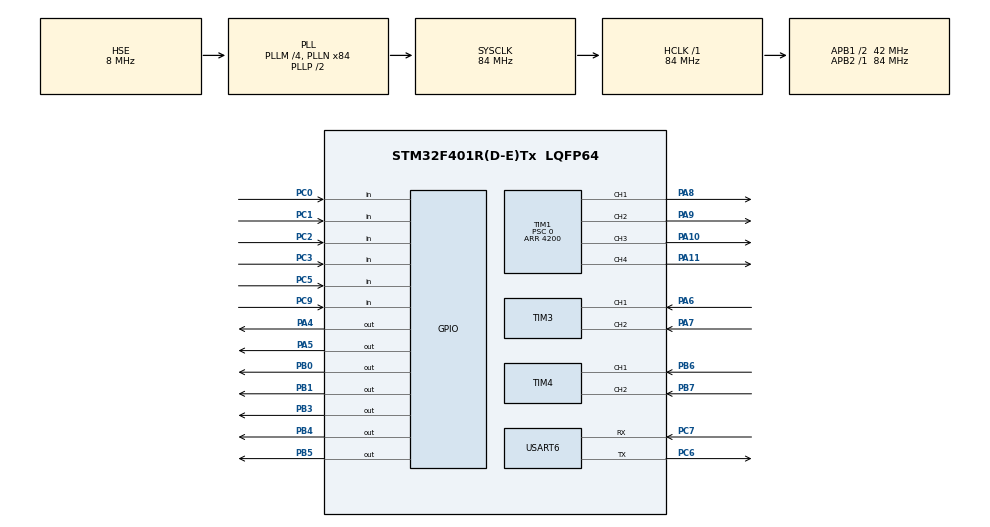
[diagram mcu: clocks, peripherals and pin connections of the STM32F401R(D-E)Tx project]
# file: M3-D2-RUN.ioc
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Mcu.Family=STM32F4
Mcu.Name=STM32F401R(D-E)Tx
Mcu.Package=LQFP64
NVIC.PriorityGroup=NVIC_PRIORITYGROUP_4
NVIC.TIM1_BRK_TIM9_IRQn=true\:0\:0\:false\:false\:true\:true\:true
NVIC.TIM1_CC_IRQn=true\:0\:0\:false\:false\:true\:true\:true
NVIC.TIM3_IRQn=true\:0\:0\:false\:false\:true\:true\:true
NVIC.TIM4_IRQn=true\:0\:0\:false\:false\:true\:true\:true
NVIC.USART6_IRQn=true\:0\:0\:false\:false\:true\:true\:true
PA10.Signal=S_TIM1_CH3
PA11.Signal=S_TIM1_CH4
PA13.Mode=Serial_Wire
PA13.Signal=SYS_JTMS-SWDIO
PA14.Mode=Serial_Wire
PA14.Signal=SYS_JTCK-SWCLK
PA4.Signal=GPIO_Output
PA5.Signal=GPIO_Output
PA6.Signal=S_TIM3_CH1
PA7.Signal=S_TIM3_CH2
PA8.Signal=S_TIM1_CH1
PA9.Signal=S_TIM1_CH2
PB0.Signal=GPIO_Output
PB1.Signal=GPIO_Output
PB3.Signal=GPIO_Output
PB4.Signal=GPIO_Output
PB5.Signal=GPIO_Output
PB6.Signal=S_TIM4_CH1
PB7.Signal=S_TIM4_CH2
PC0.Signal=GPIO_Input
PC1.Signal=GPIO_Input
PC2.Signal=GPIO_Input
PC3.Signal=GPIO_Input
PC5.Signal=GPIO_Input
PC6.Mode=Asynchronous
PC6.Signal=USART6_TX
PC7.Mode=Asynchronous
PC7.Signal=USART6_RX
PC9.Signal=GPIO_Input
PH0\ -\ OSC_IN.Mode=HSE-External-Oscillator
PH0\ -\ OSC_IN.Signal=RCC_OSC_IN
PH1\ -\ OSC_OUT.Mode=HSE-External-Oscillator
PH1\ -\ OSC_OUT.Signal=RCC_OSC_OUT
ProjectManager.HeapSize=0x200
ProjectManager.StackSize=0x400
ProjectManager.TargetToolchain=STM32CubeIDE
RCC.48MHZClocksFreq_Value=42000000
RCC.AHBFreq_Value=84000000
RCC.APB1CLKDivider=RCC_HCLK_DIV2
RCC.APB1Freq_Value=42000000
RCC.APB1TimFreq_Value=84000000
RCC.APB2Freq_Value=84000000
RCC.APB2TimFreq_Value=84000000
RCC.CortexFreq_Value=84000000
RCC.HCLKFreq_Value=84000000
RCC.HSE_VALUE=8000000
RCC.HSI_VALUE=16000000
RCC.LSE_VALUE=32768
RCC.PLLM=4
RCC.PLLN=84
RCC.PLLSourceVirtual=RCC_PLLSOURCE_HSE
RCC.SYSCLKFreq_VALUE=84000000
RCC.SYSCLKSource=RCC_SYSCLKSOURCE_PLLCLK
RCC.VCOOutputFreq_Value=168000000
SH.S_TIM1_CH1.0=TIM1_CH1,PWM Generation1 CH1
SH.S_TIM1_CH2.0=TIM1_CH2,PWM Generation2 CH2
SH.S_TIM1_CH3.0=TIM1_CH3,PWM Generation3 CH3
SH.S_TIM1_CH4.0=TIM1_CH4,PWM Generation4 CH4
SH.S_TIM3_CH1.0=TIM3_CH1,Encoder_Interface
SH.S_TIM3_CH2.0=TIM3_CH2,Encoder_Interface
SH.S_TIM4_CH1.0=TIM4_CH1,Encoder_Interface
SH.S_TIM4_CH2.0=TIM4_CH2,Encoder_Interface
TIM1.Channel-PWM\ Generation1\ CH1=TIM_CHANNEL_1
TIM1.Channel-PWM\ Generation2\ CH2=TIM_CHANNEL_2
TIM1.Channel-PWM\ Generation3\ CH3=TIM_CHANNEL_3
TIM1.Channel-PWM\ Generation4\ CH4=TIM_CHANNEL_4
TIM1.Period=4200
TIM1.Prescaler=0
TIM3.CounterMode=TIM_COUNTERMODE_UP
TIM3.EncoderMode=TIM_ENCODERMODE_TI12
TIM3.IC1Polarity=TIM_ICPOLARITY_FALLING
TIM3.IC2Polarity=TIM_ICPOLARITY_FALLING
TIM4.EncoderMode=TIM_ENCODERMODE_TI12
TIM4.IC1Polarity=TIM_ICPOLARITY_FALLING
TIM4.IC2Polarity=TIM_ICPOLARITY_FALLING
USART6.VirtualMode=VM_ASYNC
VP_TIM1_VS_ClockSourceINT.Mode=Internal
board=custom

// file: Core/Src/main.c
/* USER CODE BEGIN Header */
/**
 ******************************************************************************
 * @file           : main.c
 * @brief          : Main program body
 ******************************************************************************
 * @attention
 *
 * Copyright (c) 2022 STMicroelectronics.
 * All rights reserved.
 *
 * This software is licensed under terms that can be found in the LICENSE file
 * in the root directory of this software component.
 * If no LICENSE file comes with this software, it is provided AS-IS.
 *
 ******************************************************************************
 */
/* USER CODE END Header */
#include "main.h"

TIM_HandleTypeDef htim1;
TIM_HandleTypeDef htim3;
TIM_HandleTypeDef htim4;

UART_HandleTypeDef huart6;
char prijem = 0;
int i = 0, j = 0;
uint8_t upravljanje = 0;
uint8_t prom = 15;
uint8_t prom2 = 15;
uint8_t step = 0;
extern uint32_t TIME;
extern float teta_d;
extern float teta_min, x_d, y_d, teta_ei;
extern uint8_t faza;
extern uint8_t smer;
extern float teta_ei_max, teta_ei_min;
extern float Kpd, Kid, Kdd;

void SystemClock_Config(void);
static void MX_GPIO_Init(void);
static void MX_TIM3_Init(void);
static void MX_TIM4_Init(void);
static void MX_TIM1_Init(void);
static void MX_USART6_UART_Init(void);

int main(void) {

	/* MCU Configuration--------------------------------------------------------*/

	/* Reset of all peripherals, Initializes the Flash interface and the Systick. */

	HAL_Init();

	/* Configure the system clock */
	SystemClock_Config();

	/* Initialize all configured peripherals */
	MX_GPIO_Init();
	MX_TIM3_Init();
	MX_TIM4_Init();
	MX_TIM1_Init();
	MX_USART6_UART_Init();
	/* USER CODE BEGIN 2 */
	tim5_init();
	pid_init();

	extern uint32_t TIME;
	extern float teta_d;
	extern float teta_min, x_d, y_d, teta_ei;
	extern float teta_ei;
	extern uint8_t faza;
	extern int kreni;
	teta_min = 0.045;
	teta_d = 0; //M_PI/2.0;

	x_d = 0.0;
	y_d = 0.0;
	teta_d = 0.0;

	faza = 0;
	teta_ei = 0.0;
	upravljanje = 40;

	volatile uint8_t flag_send = 0;
	int step_init = 1;
	HAL_TIM_Encoder_Start(&htim3, TIM_CHANNEL_ALL);
	HAL_TIM_Encoder_Start(&htim4, TIM_CHANNEL_ALL);

	//faktor_ispune_t2_smer1((float)upravljanje);
	//faktor_ispune_t1_smer1((float)upravljanje);
	//pokreni_traku(upravljanje);

	HAL_TIM_PWM_Start(&htim1, TIM_CHANNEL_1);
	HAL_TIM_PWM_Start(&htim1, TIM_CHANNEL_2);
	HAL_TIM_PWM_Start(&htim1, TIM_CHANNEL_3);
	HAL_TIM_PWM_Start(&htim1, TIM_CHANNEL_4);

	////////////////////////ugao

	/* USER CODE END 2 */

	/* Infinite loop */
	/* USER CODE BEGIN WHILE */

	while (1) {

		switch (step) { //ljubicasta strana, sto 1
		case 0:
			if(step_init){
				step_init = 0;
				smer = 2;
				faza = 0;
				x_d = -688.93;
				y_d = 132.35;
				teta_d = -0.794889677;
			}
			if(faza == 3){
				step_init = 1;
				step = 1;
			}
			break;
		case 1:
			if (flag_send == 0) //ide na prvi
			{
				HAL_UART_Transmit(&huart6, (uint8_t*) "d", 1, 100);
				flag_send = 1;
			}
			if (step_init) {
				teta_min  = 0.06;
				step_init = 0;
				smer = 2;
				faza = 0;
				x_d = -920.0;
				y_d = 410.0; //prva
				teta_d = -(M_PI/2);

			}
			if (faza == 3) {
				step_init = 1;
				step = 2;
				flag_send= 0;
			}
			break;
		case 2:
			if (flag_send == 0) //meri prvi
			{
				HAL_UART_Transmit(&huart6, (uint8_t*) "e", 1, 100);
				flag_send = 1;
			}
			if (step_init) {
				step_init = 0;

				teta_min = 0.055;
				Kpd = 100; //44
				Kid = 0.165; //	0.085
				Kdd = 150000; //24k
				teta_ei_max = 110;
				teta_ei_min = -110;

				kreni = 2;
				faza = 4;
				medju_stanje();
				HAL_Delay(1000);
				flag_send = 0;
				step_init = 1;
				step = 3;
			}
			break;
		case 3:
			if (step_init){ //ide na drugi
				step_init = 0;

				kreni = 2;
				faza = 4;
				medju_stanje();
				HAL_Delay(750);

				smer = 2;
				kreni = 1;
				x_d = -925.0;
				y_d = 623.5; //druga
				teta_d = -1.555;
				faza = 0;
			}
			if (faza == 3){
				step_init = 1;
				step = 4;
			}
			break;
		case 4:
			if (flag_send == 0) //obara drugi, ide na treci
			{
				HAL_UART_Transmit(&huart6, (uint8_t*) "f", 1, 100);
				flag_send = 1;
			}
			if (step_init){
				step_init = 0;

				kreni = 2;
				faza = 4;
				medju_stanje();
				HAL_Delay(750);
				kreni = 1;

				smer = 2;
				Kid = 0.135;
				x_d = -920.0;
				y_d = 822.2; //treca 815.5
				teta_d = -1.555;
				faza = 0;
			}
			if (faza == 3){
				if(prijem == 'm'){
					step_init = 1;
					step = 6;
					prijem = 0;
					flag_send = 0;
				} else if (prijem == 'n'){
					step_init = 1;
					step = 5;
					prijem = 0;
					flag_send = 0;
				}
			}
			break;
		case 5:
			if (flag_send == 0) //nije nas, obara treci i ide na cetvrti
				{
				HAL_UART_Transmit(&huart6, (uint8_t*) "f", 1, 100);
				flag_send = 1;
				}
			if (step_init){
				step_init = 0;
				smer = 2;

				kreni = 2;
				faza = 4;
				medju_stanje();
				HAL_Delay(750);
				kreni = 1;

				Kid = 0.165;
				x_d = -920.0;
				y_d = 1010.5; //cetvrta
				teta_d = -1.55;
				faza = 0;
			}
			if (faza == 3){
				step_init = 1;
				step = 7;
				flag_send = 0;
			}
			break;
		case 6:
			if (step_init){ //nas je, ide do cetvrte
				step_init = 0;
				smer = 2;
				x_d = -920.0;
				y_d = 1010.5; //cetvrta
				teta_d = -1.55;
				faza = 0;
			}
			if (faza == 3){
				step_init = 1;
				step = 7;
				flag_send = 0;
			}
			break;
		case 7:
			if (flag_send == 0) //meri cetvrti
			{
				HAL_UART_Transmit(&huart6, (uint8_t*) "e", 1, 100);
				flag_send = 1;
			}
			if (step_init) {
				step_init = 0;
				kreni = 2;
				faza = 4;
				medju_stanje();
				HAL_Delay(1500);
				step_init = 1;

				if (prijem == 'n'){
					prijem = 0;
					step = 8;
					flag_send = 0;
				} else if(prijem == 'm'){
					prijem = 0;
					step = 11;
					flag_send = 0;
				}
			}
			break;
		case 8:
			if (step_init){ //nije nas, ide na peti
				step_init = 0;
				smer = 2;
				kreni = 1;
				x_d = -910.0;
				y_d = 1200.5; //peta
				teta_d = -1.555;
				faza = 0;
			}
			if (faza == 3){
				step_init = 1;
				step = 9;
			}
			break;
		case 9:
			if (flag_send == 0) //obara peti, ide na sesti
				{
				HAL_UART_Transmit(&huart6, (uint8_t*) "f", 1, 100);
				flag_send = 1;
				}
			if (step_init){
				step_init = 0;

				kreni = 2;
				faza = 4;
				medju_stanje();
				HAL_Delay(750);
				kreni = 1;

				smer = 2;
				x_d = -910.0;
				y_d = 1386.0; //sesta
				teta_d = -1.555;
				faza = 0;
			}
			if (faza == 3){
				step_init = 1;
				step = 10;
				flag_send = 0;
			}
			break;
		case 10:
			if (flag_send == 0) //obara sesti, ide do sedmog ('n')
				{
				HAL_UART_Transmit(&huart6, (uint8_t*) "f", 1, 100);
				flag_send = 1;
				}
			if (step_init){
				step_init = 0;

				kreni = 2;
				faza = 4;
				medju_stanje();
				HAL_Delay(750);
				kreni = 1;

				Kpd = 35; //40
				Kid = 0.13; //	0.15
				Kdd = 22000; //25k

				//Kpd = 31; //44
				//Kid = 0.11; //	0.085
				//Kdd = 20000; //24k

				smer = 2;
				x_d = -915.0; //sedma
				y_d = 1580.5;
				teta_d = -1.54;
				faza = 0;
			}
			if (faza == 3){
				step_init = 1;
				step = 101;
				flag_send = 0;
			}
			break;
		case 101:
			if (step_init){ //zavrsava sa kvadratima
				step_init = 0;

				Kpd = 35; //40
				Kid = 0.13; //	0.15
				Kdd = 22000; //25k

				//Kpd = 31; //44
				//Kid = 0.11; //	0.085
				//Kdd = 20000; //24k

				smer = 1;
				kreni = 1;
				x_d = -889.64967913063435; //gotovi kvadrati
				y_d = 1723.5882749804816; //gotovi kvadrati
				teta_d = 0;
				faza = 0;
			}
			if (faza == 3){
				step_init = 1;
				step = 121;
				flag_send = 0;
			}
			break;
		case 11:
			if (step_init){ //ide do sedmog ('m')
				step_init = 0;
				smer = 2;

				teta_min = 0.06;
				Kpd = 27; //44
				Kid = 0.2; //	0.085
				Kdd = 20000; //24k
				teta_ei_max = 110;
				teta_ei_min = -110;

				kreni = 1;
				x_d = -920.0; //sedma
				y_d = 1555.5;
				teta_d = -1.555;
				faza = 0;
			}
			if (faza == 3){
				step_init = 1;
				step = 12;
				flag_send = 0;
			}
			break;
		case 12:
			if (flag_send == 0) //obara sedmi, zavrsava sa kvadratima
				{
				HAL_UART_Transmit(&huart6, (uint8_t*) "f", 1, 100);
				flag_send = 1;
				}
			if (step_init){
				step_init = 0;

				kreni = 2;
				faza = 4;
				medju_stanje();
				HAL_Delay(750);
				kreni = 1;

				smer = 1;
				teta_min = 0.45;

				Kpd = 35; //40
				Kid = 0.13; //	0.15
				Kdd = 22000; //25k

				//Kpd = 31; //44
				//Kid = 0.11; //	0.085
				//Kdd = 20000; //24k

				x_d = -889.64967913063435; //gotovi kvadrati
				y_d = 1723.5882749804816; //gotovi kvadrati
				teta_d = 0;
				faza = 0;
			}
			if (faza == 3){
				step_init = 1;
				step = 121;
				flag_send = 0;
			}
			break;
		case 121:
			if (flag_send == 0) //zatvara mernu ruku
				{
				HAL_UART_Transmit(&huart6, (uint8_t*) "g", 1, 100);
				flag_send = 1;
				}
			if (step_init){
				step_init = 0;
				smer = 1;
				kreni = 1;
				x_d = -68.783264755755852; //
				y_d = 1425.3779902611661; //
				teta_d = -0.79460203669441398;
				faza = 0;
			}
			if (faza == 3){
				step_init = 1;
				step = 13;
				flag_send = 0;
			}
			break;
		case 13:
			if (flag_send == 0) //otvara rucice i gura u kamp
				{
				HAL_UART_Transmit(&huart6, (uint8_t*) "a", 1, 100);
				flag_send = 1;
				}
			if (step_init){
				step_init = 0;
				smer = 1;
				x_d = 233.08653425554098;
				y_d = 0.0;
				teta_d = -1.5980244544771267;
				faza = 0;
			}
			if (faza == 3){
				step_init = 1;
				step = 14;
				flag_send = 0;
			}
			break;
		case 14:
			if (step_init){ //ide na sredinu terena
				step_init = 0;
				smer = 2;
				x_d = 233.08653425554098;
				y_d = 1185.0;
				teta_d = -(M_PI/2);
				faza = 0;
			}
			if (faza == 3){
				step_init = 1;
				step = 15;
				flag_send = 0;
			}
			break;
		case 15:
			if (step_init){ //pozicija pre iskopa
				step_init = 0;
				smer = 1;
				x_d = -282.6;
				y_d = 1116.9;
				teta_d = -1.934445591410622;
				faza = 0;
			}
			if (faza == 3){
				step_init = 1;
				step = 151;
				flag_send = 0;
			}
			break;
		case 151:
			if (step_init){ //gura zetone u supu
				step_init = 0;
				smer = 1;

				x_d = -795.36357318251066;
				y_d = 53.929638001396214;
				teta_d = -2.3770949414320057;

				faza = 0;
			}
			if (faza == 3){
				step_init = 1;
				step = 16;
				flag_send = 0;
			}
			break;
		case 16:
			if (flag_send == 0) //zatvara rucice i staje
				{
				HAL_UART_Transmit(&huart6, (uint8_t*) "b", 1, 200);
				flag_send = 1;
				}
			if (step_init){
				step_init = 0;

				kreni = 2;
				faza = 4;
				medju_stanje();
				HAL_Delay(1500);
				step_init = 1;
				step = 17;
				flag_send = 0;

				//smer = 2;
				//x_d = -584.54;
				//y_d = 270.536;
				//teta_d = -2.3842854956674273;
				//faza = 0;
			}
			break;
		case 17:
			if (flag_send == 0) //izbacuje repliku i stoji
				{
				HAL_UART_Transmit(&huart6, (uint8_t*) "c", 1, 200);
				flag_send = 1;
				}
			if (step_init){ //dolazi do supe
				step_init = 0;
				kreni = 2;
				faza = 4;
				medju_stanje();
				HAL_Delay(1500);
				step_init = 1;
				step = 18;
				flag_send = 0;
			}
			break;
		case 18:
			if (step_init){ //vraca se unazad
				step_init = 0;
				kreni = 1;
				smer = 2;
				x_d = 81.434081098829679;
				y_d = 655.28716262263526;
				teta_d = -2.8398777764959959;
				faza = 0;
			}
			if (faza == 3){
				step_init = 1;
				step = 19;
				flag_send = 0;
			}
			break;
		case 19:
			if (step_init){ //zavrsava
				step_init = 0;
				kreni = 1;
				smer = 2;
				x_d = 510.75763405124746;
				y_d = 189.07135436795926;
				teta_d = 2.4549445368059182;
				faza = 0;
			}
			if (faza == 3){
				step_init = 2;
				step = 20;
				flag_send = 0;
			}
			break;
		case 20:
			kreni = 2;
			faza = 4;
			medju_stanje();
			break;
		}

		/*switch (step) { //zuta strana, sto 2
				case 0:
					if(step_init){
						step_init = 0;
						smer = 2;
						faza = 0;
						x_d = -247.27348704650433;
						y_d = -326.98518802001365;
						teta_d = M_PI/2;
					}
					if(faza == 3){
						step_init = 1;
						step = 111;
					}
					break;
				case 111:
					if(step_init){
						step_init = 0;
						smer = 1;
						faza = 0;
						x_d = -611.0;
						y_d = -256.6;
						teta_d = -2.556187280063817;
					}
					if(faza == 3){
						step_init = 1;
						step = 1;
					}
					break;
				case 1:
					if (flag_send == 0) //ide na prvi
					{
						HAL_UART_Transmit(&huart6, (uint8_t*) "d", 1, 100);
						flag_send = 1;
					}
					if (step_init) {
						teta_min  = 0.06;
						step_init = 0;
						smer = 1;
						faza = 0;
						x_d = -900.0;
						y_d = -370.0; //prva
						teta_d = -(M_PI/2);

					}
					if (faza == 3) {
						step_init = 1;
						step = 2;
						flag_send= 0;
					}
					break;
				case 2:
					if (flag_send == 0) //meri prvi
					{
						HAL_UART_Transmit(&huart6, (uint8_t*) "y", 1, 100);
						flag_send = 1;
					}
					if (step_init) {
						step_init = 0;

						teta_min = 0.055;
						Kpd = 100; //44
						Kid = 0.165; //	0.085
						Kdd = 150000; //24k
						teta_ei_max = 110;
						teta_ei_min = -110;

						//Kpd = 145;
						//Kid = 0.16;
						//Kdd = 170000;
						//teta_ei_max = 110; //140
						//teta_ei_min = -110;

						kreni = 2;
						faza = 4;
						medju_stanje();
						HAL_Delay(1500);
						flag_send = 0;
						step_init = 1;
						step = 3;
					}
					break;
				case 3:
					if (step_init){ //ide na drugi
						step_init = 0;
						smer = 1;
						kreni = 1;
						x_d = -900.0;
						y_d = -565.0; //druga
						teta_d = -1.555; //-1.555
						faza = 0;
					}
					if (faza == 3){
						step_init = 1;
						step = 4;
					}
					break;
				case 4:
					if (flag_send == 0) //obara drugi, ide na treci
					{
						HAL_UART_Transmit(&huart6, (uint8_t*) "f", 1, 100);
						flag_send = 1;
					}
					if (step_init){
						step_init = 0;

						kreni = 2;
						faza = 4;
						medju_stanje();
						HAL_Delay(750);
						kreni = 1;

						smer = 1;
						Kid = 0.135;
						x_d = -900.0;
						y_d = -758.0; //treca
						teta_d = -1.555;
						faza = 0;
					}
					if (faza == 3){
						if(prijem == 'm'){
							step_init = 1;
							step = 6;
							prijem = 0;
							flag_send = 0;
						} else if (prijem == 'n'){
							step_init = 1;
							step = 5;
							prijem = 0;
							flag_send = 0;
						}
					}
					break;
				case 5:
					if (flag_send == 0) //nije nas, obara treci i ide na cetvrti
						{
						HAL_UART_Transmit(&huart6, (uint8_t*) "f", 1, 100);
						flag_send = 1;
						}
					if (step_init){
						step_init = 0;

						kreni = 2;
						faza = 4;
						medju_stanje();
						HAL_Delay(750);
						kreni = 1;

						smer = 1;
						Kid = 0.165;
						x_d = -900.0;
						y_d = -990.0; //cetvrta
						teta_d = -1.55;
						faza = 0;
					}
					if (faza == 3){
						step_init = 1;
						step = 7;
						flag_send = 0;
					}
					break;
				case 6:
					if (step_init){ //nas je, ide do cetvrte
						step_init = 0;
						smer = 1;
						x_d = -900.0;
						y_d = -990.0; //cetvrta
						teta_d = -1.55;
						faza = 0;
					}
					if (faza == 3){
						step_init = 1;
						step = 7;
						flag_send = 0;
					}
					break;
				case 7:
					if (flag_send == 0) //meri cetvrti
					{
						HAL_UART_Transmit(&huart6, (uint8_t*) "y", 1, 100);
						flag_send = 1;
					}
					if (step_init) {
						step_init = 0;
						kreni = 2;
						faza = 4;
						medju_stanje();
						HAL_Delay(1500);
						step_init = 1;

						if (prijem == 'n'){
							prijem = 0;
							step = 8;
							flag_send = 0;
						} else if(prijem == 'm'){
							prijem = 0;
							step = 11;
							flag_send = 0;
						}
					}
					break;
				case 8:
					if (step_init){ //nije nas, ide na peti
						step_init = 0;
						smer = 1;
						kreni = 1;
						x_d = -880.0;
						y_d = -1150.0; //peta
						teta_d = -1.555;
						faza = 0;
					}
					if (faza == 3){
						step_init = 1;
						step = 9;
					}
					break;
				case 9:
					if (flag_send == 0) //obara peti, ide na sesti
						{
						HAL_UART_Transmit(&huart6, (uint8_t*) "f", 1, 100);
						flag_send = 1;
						}
					if (step_init){
						step_init = 0;

						kreni = 2;
						faza = 4;
						medju_stanje();
						HAL_Delay(750);
						kreni = 1;

						smer = 1;
						x_d = -880.0;
						y_d = -1350.0; //sesta
						teta_d = -1.555;
						faza = 0;
					}
					if (faza == 3){
						step_init = 1;
						step = 10;
						flag_send = 0;
					}
					break;
				case 10:
					if (flag_send == 0) //obara sesti, ide do sedmog ('n')
						{
						HAL_UART_Transmit(&huart6, (uint8_t*) "f", 1, 100);
						flag_send = 1;
						}
					if (step_init){
						step_init = 0;

						kreni = 2;
						faza = 4;
						medju_stanje();
						HAL_Delay(750);
						kreni = 1;

						Kpd = 35; //40
						Kid = 0.13; //	0.15
						Kdd = 22000; //25k

						//Kpd = 31; //44
						//Kid = 0.11; //	0.085
						//Kdd = 20000; //24k

						smer = 1;
						x_d = -880.0; //sedma
						y_d = -1500.0;
						teta_d = -1.555;
						faza = 0;
					}
					if (faza == 3){
						step_init = 1;
						step = 101;
						flag_send = 0;
					}
					break;
				case 101:
					if (step_init){ //zavrsava sa kvadratima
						step_init = 0;

						Kpd = 35; //40
						Kid = 0.13; //	0.15
						Kdd = 22000; //25k

						//Kpd = 31; //44
						//Kid = 0.11; //	0.085
						//Kdd = 20000; //24k

						smer = 1;
						kreni = 1;
						x_d = -790.5; //gotovi kvadrati
						y_d = -1737.1; //gotovi kvadrati
						teta_d = 0.11984212908712522;
						faza = 0;
					}
					if (faza == 3){
						step_init = 1;
						step = 121; //121
						flag_send = 0;
					}
					break;
				case 11:
					if (step_init){ //ide do sedmog ('m')
						step_init = 0;
						smer = 1;

						teta_min = 0.06;
						Kpd = 27; //44
						Kid = 0.2; //	0.085
						Kdd = 20000; //24k
						teta_ei_max = 110;
						teta_ei_min = -110;

						kreni = 1;
						x_d = -880.0; //sedma
						y_d = -1540.0;
						teta_d = -1.555;
						faza = 0;
					}
					if (faza == 3){
						step_init = 1;
						step = 12;
						flag_send = 0;
					}
					break;
				case 12:
					if (flag_send == 0) //obara sedmi, zavrsava sa kvadratima
						{
						HAL_UART_Transmit(&huart6, (uint8_t*) "f", 1, 100);
						flag_send = 1;
						}
					if (step_init){
						step_init = 0;

						kreni = 2;
						faza = 4;
						medju_stanje();
						HAL_Delay(750);
						kreni = 1;

						smer = 1;
						teta_min = 0.45;

						Kpd = 35; //40
						Kid = 0.13; //	0.15
						Kdd = 22000; //25k

						//Kpd = 31; //44
						//Kid = 0.11; //	0.085
						//Kdd = 20000; //24k

						x_d = -790.5; //gotovi kvadrati
						y_d = -1737.1; //gotovi kvadrati
						teta_d = 0.11984212908712522;
						faza = 0;
					}
					if (faza == 3){
						step_init = 1;
						step = 121; //121
						flag_send = 0;
					}
					break;
				case 121:
					if (flag_send == 0) //zatvara mernu ruku
						{
						HAL_UART_Transmit(&huart6, (uint8_t*) "g", 1, 100);
						flag_send = 1;
						}
					if (step_init){
						step_init = 0;
						smer = 1;
						kreni = 1;
						x_d = 161.16170210700122;
						y_d = -1270.4307438898545;
						teta_d = 1.5360898783298822;
						faza = 0;
					}
					if (faza == 3){
						step_init = 1;
						step = 13;
						flag_send = 0;
					}
					break;
				case 13:
					if (flag_send == 0) //otvara rucice i gura u kamp
						{
						HAL_UART_Transmit(&huart6, (uint8_t*) "a", 1, 100);
						flag_send = 1;
						}
					if (step_init){
						step_init = 0;
						smer = 1;
						x_d = 178.86453406299776;
						y_d = 0.0;
						teta_d = M_PI/2;
						faza = 0;
					}
					if (faza == 3){
						step_init = 1;
						step = 14;
						flag_send = 0;
					}
					break;
				case 14:
					if (step_init){ //ide na sredinu terena
						step_init = 0;
						smer = 2;
						x_d = 178.86453406299776;
						y_d = -1270.5019829186729;
						teta_d = M_PI/2;
						faza = 0;
					}
					if (faza == 3){
						step_init = 1;
						step = 15;
						flag_send = 0;
					}
					break;
				case 15:
					if (step_init){ //pozicija pre iskopa
						step_init = 0;
						smer = 1;
						x_d = -132.34570782162817;
						y_d = -933.73934417722842;
						teta_d = 2.3095037698774163;
						faza = 0;
					}
					if (faza == 3){
						step_init = 1;
						step = 151;
						flag_send = 0;
					}
					break;
				case 151:
					if (step_init){ //gura zetone u supu
						step_init = 0;
						smer = 1;

						x_d = -608.2588594276715;
						y_d = 61.525390773486748;
						teta_d = 2.2244637067312638;

						//x_d = -769.44181640189663;
						//y_d = 77.679425104781217;
						//teta_d = -2.3842854956674273;
						faza = 0;
					}
					if (faza == 3){
						step_init = 1;
						step = 16;
						flag_send = 0;
					}
					break;
				case 16:
					if (flag_send == 0) //zatvara rucice i staje
						{
						HAL_UART_Transmit(&huart6, (uint8_t*) "b", 1, 200);
						flag_send = 1;
						}
					if (step_init){
						step_init = 0;

						kreni = 2;
						faza = 4;
						medju_stanje();
						HAL_Delay(1500);
						step_init = 1;
						step = 17;
						flag_send = 0;

						//smer = 2;
						//x_d = -584.54;
						//y_d = 270.536;
						//teta_d = -2.3842854956674273;
						//faza = 0;
					}
					break;
				case 17:
					if (flag_send == 0) //izbacuje repliku i stoji
						{
						HAL_UART_Transmit(&huart6, (uint8_t*) "c", 1, 200);
						flag_send = 1;
						}
					if (step_init){ //dolazi do supe
						step_init = 0;
						kreni = 2;
						faza = 4;
						medju_stanje();
						HAL_Delay(1500);
						step_init = 1;
						step = 18;
						flag_send = 0;
					}
					break;
				case 18:
					if (step_init){ //vraca se unazad
						step_init = 0;
						kreni = 1;
						smer = 2;
						x_d = -214.44863326733491;
						y_d = -544.61122040530654;
						teta_d = 2.6951081788981597;
						faza = 0;
					}
					if (faza == 3){
						step_init = 1;
						step = 19;
						flag_send = 0;
					}
					break;
				case 19:
					if (step_init){ //zavrsava
						step_init = 0;
						kreni = 1;
						smer = 2;
						x_d = 668.88864066157748;
						y_d = -148.68586535069068;
						teta_d = -2.2692371495709693;
						faza = 0;
					}
					if (faza == 3){
						step_init = 2;
						step = 20;
						flag_send = 0;
					}
					break;
				case 20:
					kreni = 2;
					faza = 4;
					medju_stanje();
					break;
				}*/

		/*switch (step) { //ljubicasta strana, sto 2
		case 0:
			if(step_init){
				step_init = 0;
				smer = 2;
				faza = 0;
				x_d = -688.93;
				y_d = 132.35;
				teta_d = -0.794889677;
			}
			if(faza == 3){
				step_init = 1;
				step = 1;
			}
			break;
		case 1:
			if (flag_send == 0) //ide na prvi
			{
				HAL_UART_Transmit(&huart6, (uint8_t*) "d", 1, 100);
				flag_send = 1;
			}
			if (step_init) {
				teta_min  = 0.06;
				step_init = 0;
				smer = 2;
				faza = 0;
				x_d = -930.0;
				y_d = 430.0; //prva
				teta_d = -(M_PI/2);

			}
			if (faza == 3) {
				step_init = 1;
				step = 2;
				flag_send= 0;
			}
			break;
		case 2:
			if (flag_send == 0) //meri prvi
			{
				HAL_UART_Transmit(&huart6, (uint8_t*) "e", 1, 100);
				flag_send = 1;
			}
			if (step_init) {
				step_init = 0;

				teta_min = 0.055;
				Kpd = 100; //44
				Kid = 0.165; //	0.085
				Kdd = 150000; //24k
				teta_ei_max = 110;
				teta_ei_min = -110;

				kreni = 2;
				faza = 4;
				medju_stanje();
				HAL_Delay(1500);
				flag_send = 0;
				step_init = 1;
				step = 3;
			}
			break;
		case 3:
			if (step_init){ //ide na drugi
				step_init = 0;
				smer = 2;
				kreni = 1;
				x_d = -925.0;
				y_d = 630.5; //druga
				teta_d = -1.555;
				faza = 0;
			}
			if (faza == 3){
				step_init = 1;
				step = 4;
			}
			break;
		case 4:
			if (flag_send == 0) //obara drugi, ide na treci
			{
				HAL_UART_Transmit(&huart6, (uint8_t*) "f", 1, 100);
				flag_send = 1;
			}
			if (step_init){
				step_init = 0;

				kreni = 2;
				faza = 4;
				medju_stanje();
				HAL_Delay(750);
				kreni = 1;

				smer = 2;
				Kid = 0.135;
				x_d = -920.0;
				y_d = 820.5; //treca
				teta_d = -1.555;
				faza = 0;
			}
			if (faza == 3){
				if(prijem == 'm'){
					step_init = 1;
					step = 6;
					prijem = 0;
					flag_send = 0;
				} else if (prijem == 'n'){
					step_init = 1;
					step = 5;
					prijem = 0;
					flag_send = 0;
				}
			}
			break;
		case 5:
			if (flag_send == 0) //nije nas, obara treci i ide na cetvrti
				{
				HAL_UART_Transmit(&huart6, (uint8_t*) "f", 1, 100);
				flag_send = 1;
				}
			if (step_init){
				step_init = 0;

				kreni = 2;
				faza = 4;
				medju_stanje();
				HAL_Delay(750);
				kreni = 1;

				smer = 2;
				Kid = 0.165;
				x_d = -920.0;
				y_d = 1010.5; //cetvrta
				teta_d = -1.555;
				faza = 0;
			}
			if (faza == 3){
				step_init = 1;
				step = 7;
				flag_send = 0;
			}
			break;
		case 6:
			if (step_init){ //nas je, ide do cetvrte
				step_init = 0;
				smer = 2;
				x_d = -925.0;
				y_d = 1010.5; //cetvrta
				teta_d = -1.555;
				faza = 0;
			}
			if (faza == 3){
				step_init = 1;
				step = 7;
				flag_send = 0;
			}
			break;
		case 7:
			if (flag_send == 0) //meri cetvrti
			{
				HAL_UART_Transmit(&huart6, (uint8_t*) "e", 1, 100);
				flag_send = 1;
			}
			if (step_init) {
				step_init = 0;
				kreni = 2;
				faza = 4;
				medju_stanje();
				HAL_Delay(1500);
				step_init = 1;

				if (prijem == 'n'){
					prijem = 0;
					step = 8;
					flag_send = 0;
				} else if(prijem == 'm'){
					prijem = 0;
					step = 11;
					flag_send = 0;
				}
			}
			break;
		case 8:
			if (step_init){ //nije nas, ide na peti
				step_init = 0;
				smer = 2;
				kreni = 1;
				x_d = -920.0;
				y_d = 1200.5; //peta
				teta_d = -1.555;
				faza = 0;
			}
			if (faza == 3){
				step_init = 1;
				step = 9;
			}
			break;
		case 9:
			if (flag_send == 0) //obara peti, ide na sesti
				{
				HAL_UART_Transmit(&huart6, (uint8_t*) "f", 1, 100);
				flag_send = 1;
				}
			if (step_init){
				step_init = 0;

				kreni = 2;
				faza = 4;
				medju_stanje();
				HAL_Delay(750);
				kreni = 1;

				smer = 2;
				x_d = -920.0;
				y_d = 1386.0; //sesta
				teta_d = -1.555;
				faza = 0;
			}
			if (faza == 3){
				step_init = 1;
				step = 10;
				flag_send = 0;
			}
			break;
		case 10:
			if (flag_send == 0) //obara sesti, ide do sedmog ('n')
				{
				HAL_UART_Transmit(&huart6, (uint8_t*) "f", 1, 100);
				flag_send = 1;
				}
			if (step_init){
				step_init = 0;

				kreni = 2;
				faza = 4;
				medju_stanje();
				HAL_Delay(750);
				kreni = 1;

				Kpd = 35; //40
				Kid = 0.13; //	0.15
				Kdd = 22000; //25k

				//Kpd = 31; //44
				//Kid = 0.11; //	0.085
				//Kdd = 20000; //24k

				smer = 2;
				x_d = -920.0; //sedma
				y_d = 1580.5;
				teta_d = -1.555;
				faza = 0;
			}
			if (faza == 3){
				step_init = 1;
				step = 101;
				flag_send = 0;
			}
			break;
		case 101:
			if (step_init){ //zavrsava sa kvadratima
				step_init = 0;

				Kpd = 35; //40
				Kid = 0.13; //	0.15
				Kdd = 22000; //25k

				//Kpd = 31; //44
				//Kid = 0.11; //	0.085
				//Kdd = 20000; //24k

				smer = 1;
				kreni = 1;
				x_d = -611.22; //gotovi kvadrati
				y_d = 1272.67; //gotovi kvadrati
				teta_d = -1.1650584132075892;
				faza = 0;
			}
			if (faza == 3){
				step_init = 1;
				step = 121;
				flag_send = 0;
			}
			break;
		case 11:
			if (step_init){ //ide do sedmog ('m')
				step_init = 0;
				smer = 2;

				teta_min = 0.06;
				Kpd = 27; //44
				Kid = 0.2; //	0.085
				Kdd = 20000; //24k
				teta_ei_max = 110;
				teta_ei_min = -110;

				kreni = 1;
				x_d = -920.0; //sedma
				y_d = 1580.5;
				teta_d = -1.555;
				faza = 0;
			}
			if (faza == 3){
				step_init = 1;
				step = 12;
				flag_send = 0;
			}
			break;
		case 12:
			if (flag_send == 0) //obara sedmi, zavrsava sa kvadratima
				{
				HAL_UART_Transmit(&huart6, (uint8_t*) "f", 1, 100);
				flag_send = 1;
				}
			if (step_init){
				step_init = 0;

				kreni = 2;
				faza = 4;
				medju_stanje();
				HAL_Delay(750);
				kreni = 1;

				smer = 1;
				teta_min = 0.45;

				Kpd = 35; //40
				Kid = 0.13; //	0.15
				Kdd = 22000; //25k

				//Kpd = 31; //44
				//Kid = 0.11; //	0.085
				//Kdd = 20000; //24k

				x_d = -611.22; //gotovi kvadrati
				y_d = 1272.67; //gotovi kvadrati
				teta_d = -1.1650584132075892;
				faza = 0;
			}
			if (faza == 3){
				step_init = 1;
				step = 121;
				flag_send = 0;
			}
			break;
		case 121:
			if (flag_send == 0) //zatvara mernu ruku
				{
				HAL_UART_Transmit(&huart6, (uint8_t*) "g", 1, 100);
				flag_send = 1;
				}
			if (step_init){
				step_init = 0;
				smer = 1;
				kreni = 1;
				x_d = 295.18486230093748; //
				y_d = 917.91638100561397; //
				teta_d = -1.8285051331840805;
				faza = 0;
			}
			if (faza == 3){
				step_init = 1;
				step = 13;
				flag_send = 0;
			}
			break;
		case 13:
			if (flag_send == 0) //otvara rucice i gura u kamp
				{
				HAL_UART_Transmit(&huart6, (uint8_t*) "a", 1, 100);
				flag_send = 1;
				}
			if (step_init){
				step_init = 0;
				smer = 1;
				x_d = 295.18486230093748;
				y_d = 0.0;
				teta_d = -(M_PI/2);
				faza = 0;
			}
			if (faza == 3){
				step_init = 1;
				step = 14;
				flag_send = 0;
			}
			break;
		case 14:
			if (step_init){ //ide na sredinu terena
				step_init = 0;
				smer = 2;
				x_d = 100.0;
				y_d = 1185.0;
				teta_d = -(M_PI/2);
				faza = 0;
			}
			if (faza == 3){
				step_init = 1;
				step = 15;
				flag_send = 0;
			}
			break;
		case 15:
			if (step_init){ //pozicija pre iskopa
				step_init = 0;
				smer = 1;
				x_d = -282.6;
				y_d = 1116.9;
				teta_d = -1.934445591410622;
				faza = 0;
			}
			if (faza == 3){
				step_init = 1;
				step = 151;
				flag_send = 0;
			}
			break;
		case 151:
			if (step_init){ //gura zetone u supu
				step_init = 0;
				smer = 1;

				x_d = -758.82751498497134;
				y_d = 83.98769502231238;
				teta_d = -2.3683704166178359;

				faza = 0;
			}
			if (faza == 3){
				step_init = 1;
				step = 16;
				flag_send = 0;
			}
			break;
		case 16:
			if (flag_send == 0) //zatvara rucice i staje
				{
				HAL_UART_Transmit(&huart6, (uint8_t*) "b", 1, 200);
				flag_send = 1;
				}
			if (step_init){
				step_init = 0;

				kreni = 2;
				faza = 4;
				medju_stanje();
				HAL_Delay(1500);
				step_init = 1;
				step = 17;
				flag_send = 0;

				//smer = 2;
				//x_d = -584.54;
				//y_d = 270.536;
				//teta_d = -2.3842854956674273;
				//faza = 0;
			}
			break;
		case 17:
			if (flag_send == 0) //izbacuje repliku i stoji
				{
				HAL_UART_Transmit(&huart6, (uint8_t*) "c", 1, 200);
				flag_send = 1;
				}
			if (step_init){ //dolazi do supe
				step_init = 0;
				kreni = 2;
				faza = 4;
				medju_stanje();
				HAL_Delay(1500);
				step_init = 1;
				step = 18;
				flag_send = 0;
			}
			break;
		case 18:
			if (step_init){ //vraca se unazad
				step_init = 0;
				kreni = 1;
				smer = 2;
				x_d = 81.434081098829679;
				y_d = 655.28716262263526;
				teta_d = -2.8398777764959959;
				faza = 0;
			}
			if (faza == 3){
				step_init = 1;
				step = 19;
				flag_send = 0;
			}
			break;
		case 19:
			if (step_init){ //zavrsava
				step_init = 0;
				kreni = 1;
				smer = 2;
				x_d = 510.75763405124746;
				y_d = 189.07135436795926;
				teta_d = 2.4549445368059182;
				faza = 0;
			}
			if (faza == 3){
				step_init = 2;
				step = 20;
				flag_send = 0;
			}
			break;
		case 20:
			kreni = 2;
			faza = 4;
			medju_stanje();
			break;
		}*/

	}

	/* USER CODE END WHILE */

}

void SystemClock_Config(void) {
	RCC_OscInitTypeDef RCC_OscInitStruct = { 0 };
	RCC_ClkInitTypeDef RCC_ClkInitStruct = { 0 };

	/** Configure the main internal regulator output voltage
	 */
	__HAL_RCC_PWR_CLK_ENABLE();
	__HAL_PWR_VOLTAGESCALING_CONFIG(PWR_REGULATOR_VOLTAGE_SCALE2);
	/** Initializes the RCC Oscillators according to the specified parameters
	 * in the RCC_OscInitTypeDef structure.
	 */
	RCC_OscInitStruct.OscillatorType = RCC_OSCILLATORTYPE_HSE;
	RCC_OscInitStruct.HSEState = RCC_HSE_ON;
	RCC_OscInitStruct.PLL.PLLState = RCC_PLL_ON;
	RCC_OscInitStruct.PLL.PLLSource = RCC_PLLSOURCE_HSE;
	RCC_OscInitStruct.PLL.PLLM = 4;
	RCC_OscInitStruct.PLL.PLLN = 84;
	RCC_OscInitStruct.PLL.PLLP = RCC_PLLP_DIV2;
	RCC_OscInitStruct.PLL.PLLQ = 4;
	if (HAL_RCC_OscConfig(&RCC_OscInitStruct) != HAL_OK) {
		Error_Handler();
	}
	/** Initializes the CPU, AHB and APB buses clocks
	 */
	RCC_ClkInitStruct.ClockType = RCC_CLOCKTYPE_HCLK | RCC_CLOCKTYPE_SYSCLK
			| RCC_CLOCKTYPE_PCLK1 | RCC_CLOCKTYPE_PCLK2;
	RCC_ClkInitStruct.SYSCLKSource = RCC_SYSCLKSOURCE_PLLCLK;
	RCC_ClkInitStruct.AHBCLKDivider = RCC_SYSCLK_DIV1;
	RCC_ClkInitStruct.APB1CLKDivider = RCC_HCLK_DIV2;
	RCC_ClkInitStruct.APB2CLKDivider = RCC_HCLK_DIV1;

	if (HAL_RCC_ClockConfig(&RCC_ClkInitStruct, FLASH_LATENCY_2) != HAL_OK) {
		Error_Handler();
	}
}

static void MX_TIM1_Init(void) {

	TIM_ClockConfigTypeDef sClockSourceConfig = { 0 };
	TIM_MasterConfigTypeDef sMasterConfig = { 0 };
	TIM_OC_InitTypeDef sConfigOC = { 0 };
	TIM_BreakDeadTimeConfigTypeDef sBreakDeadTimeConfig = { 0 };

	htim1.Instance = TIM1;
	htim1.Init.Prescaler = 0;
	htim1.Init.CounterMode = TIM_COUNTERMODE_UP;
	htim1.Init.Period = 4200;
	htim1.Init.ClockDivision = TIM_CLOCKDIVISION_DIV1;
	htim1.Init.RepetitionCounter = 0;
	htim1.Init.AutoReloadPreload = TIM_AUTORELOAD_PRELOAD_DISABLE;
	if (HAL_TIM_Base_Init(&htim1) != HAL_OK) {
		Error_Handler();
	}
	sClockSourceConfig.ClockSource = TIM_CLOCKSOURCE_INTERNAL;
	if (HAL_TIM_ConfigClockSource(&htim1, &sClockSourceConfig) != HAL_OK) {
		Error_Handler();
	}
	if (HAL_TIM_PWM_Init(&htim1) != HAL_OK) {
		Error_Handler();
	}
	sMasterConfig.MasterOutputTrigger = TIM_TRGO_RESET;
	sMasterConfig.MasterSlaveMode = TIM_MASTERSLAVEMODE_DISABLE;
	if (HAL_TIMEx_MasterConfigSynchronization(&htim1, &sMasterConfig)
			!= HAL_OK) {
		Error_Handler();
	}
	sConfigOC.OCMode = TIM_OCMODE_PWM1;
	sConfigOC.Pulse = 0;
	sConfigOC.OCPolarity = TIM_OCPOLARITY_HIGH;
	sConfigOC.OCNPolarity = TIM_OCNPOLARITY_HIGH;
	sConfigOC.OCFastMode = TIM_OCFAST_DISABLE;
	sConfigOC.OCIdleState = TIM_OCIDLESTATE_RESET;
	sConfigOC.OCNIdleState = TIM_OCNIDLESTATE_RESET;
	if (HAL_TIM_PWM_ConfigChannel(&htim1, &sConfigOC, TIM_CHANNEL_1)
			!= HAL_OK) {
		Error_Handler();
	}
	if (HAL_TIM_PWM_ConfigChannel(&htim1, &sConfigOC, TIM_CHANNEL_2)
			!= HAL_OK) {
		Error_Handler();
	}
	if (HAL_TIM_PWM_ConfigChannel(&htim1, &sConfigOC, TIM_CHANNEL_3)
			!= HAL_OK) {
		Error_Handler();
	}
	if (HAL_TIM_PWM_ConfigChannel(&htim1, &sConfigOC, TIM_CHANNEL_4)
			!= HAL_OK) {
		Error_Handler();
	}
	sBreakDeadTimeConfig.OffStateRunMode = TIM_OSSR_DISABLE;
	sBreakDeadTimeConfig.OffStateIDLEMode = TIM_OSSI_DISABLE;
	sBreakDeadTimeConfig.LockLevel = TIM_LOCKLEVEL_OFF;
	sBreakDeadTimeConfig.DeadTime = 0;
	sBreakDeadTimeConfig.BreakState = TIM_BREAK_DISABLE;
	sBreakDeadTimeConfig.BreakPolarity = TIM_BREAKPOLARITY_HIGH;
	sBreakDeadTimeConfig.AutomaticOutput = TIM_AUTOMATICOUTPUT_DISABLE;
	if (HAL_TIMEx_ConfigBreakDeadTime(&htim1, &sBreakDeadTimeConfig)
			!= HAL_OK) {
		Error_Handler();
	}
	HAL_TIM_MspPostInit(&htim1);

}

static void MX_TIM3_Init(void) {

	TIM_Encoder_InitTypeDef sConfig = { 0 };
	TIM_MasterConfigTypeDef sMasterConfig = { 0 };

	htim3.Instance = TIM3;
	htim3.Init.Prescaler = 0;
	htim3.Init.CounterMode = TIM_COUNTERMODE_UP;
	htim3.Init.Period = 65535;
	htim3.Init.ClockDivision = TIM_CLOCKDIVISION_DIV1;
	htim3.Init.AutoReloadPreload = TIM_AUTORELOAD_PRELOAD_DISABLE;
	sConfig.EncoderMode = TIM_ENCODERMODE_TI12;
	sConfig.IC1Polarity = TIM_ICPOLARITY_FALLING;
	sConfig.IC1Selection = TIM_ICSELECTION_DIRECTTI;
	sConfig.IC1Prescaler = TIM_ICPSC_DIV1;
	sConfig.IC1Filter = 0;
	sConfig.IC2Polarity = TIM_ICPOLARITY_FALLING;
	sConfig.IC2Selection = TIM_ICSELECTION_DIRECTTI;
	sConfig.IC2Prescaler = TIM_ICPSC_DIV1;
	sConfig.IC2Filter = 0;
	if (HAL_TIM_Encoder_Init(&htim3, &sConfig) != HAL_OK) {
		Error_Handler();
	}
	sMasterConfig.MasterOutputTrigger = TIM_TRGO_RESET;
	sMasterConfig.MasterSlaveMode = TIM_MASTERSLAVEMODE_DISABLE;
	if (HAL_TIMEx_MasterConfigSynchronization(&htim3, &sMasterConfig)
			!= HAL_OK) {
		Error_Handler();
	}

}

static void MX_TIM4_Init(void) {

	TIM_Encoder_InitTypeDef sConfig = { 0 };
	TIM_MasterConfigTypeDef sMasterConfig = { 0 };

	htim4.Instance = TIM4;
	htim4.Init.Prescaler = 0;
	htim4.Init.CounterMode = TIM_COUNTERMODE_UP;
	htim4.Init.Period = 65535;
	htim4.Init.ClockDivision = TIM_CLOCKDIVISION_DIV1;
	htim4.Init.AutoReloadPreload = TIM_AUTORELOAD_PRELOAD_DISABLE;
	sConfig.EncoderMode = TIM_ENCODERMODE_TI12;
	sConfig.IC1Polarity = TIM_ICPOLARITY_FALLING;
	sConfig.IC1Selection = TIM_ICSELECTION_DIRECTTI;
	sConfig.IC1Prescaler = TIM_ICPSC_DIV1;
	sConfig.IC1Filter = 0;
	sConfig.IC2Polarity = TIM_ICPOLARITY_FALLING;
	sConfig.IC2Selection = TIM_ICSELECTION_DIRECTTI;
	sConfig.IC2Prescaler = TIM_ICPSC_DIV1;
	sConfig.IC2Filter = 0;
	if (HAL_TIM_Encoder_Init(&htim4, &sConfig) != HAL_OK) {
		Error_Handler();
	}
	sMasterConfig.MasterOutputTrigger = TIM_TRGO_RESET;
	sMasterConfig.MasterSlaveMode = TIM_MASTERSLAVEMODE_DISABLE;
	if (HAL_TIMEx_MasterConfigSynchronization(&htim4, &sMasterConfig)
			!= HAL_OK) {
		Error_Handler();
	}

}

static void MX_USART6_UART_Init(void) {

	huart6.Instance = USART6;
	huart6.Init.BaudRate = 115200;
	huart6.Init.WordLength = UART_WORDLENGTH_8B;
	huart6.Init.StopBits = UART_STOPBITS_1;
	huart6.Init.Parity = UART_PARITY_NONE;
	huart6.Init.Mode = UART_MODE_TX_RX;
	huart6.Init.HwFlowCtl = UART_HWCONTROL_NONE;
	huart6.Init.OverSampling = UART_OVERSAMPLING_16;
	if (HAL_UART_Init(&huart6) != HAL_OK) {
		Error_Handler();
	}

}

static void MX_GPIO_Init(void) {
	GPIO_InitTypeDef GPIO_InitStruct = { 0 };

	/* GPIO Ports Clock Enable */
	__HAL_RCC_GPIOH_CLK_ENABLE();
	__HAL_RCC_GPIOC_CLK_ENABLE();
	__HAL_RCC_GPIOA_CLK_ENABLE();
	__HAL_RCC_GPIOB_CLK_ENABLE();

	/*Configure GPIO pin Output Level */
	HAL_GPIO_WritePin(GPIOA, GPIO_PIN_4 | GPIO_PIN_5, GPIO_PIN_RESET);

	/*Configure GPIO pin Output Level */
	HAL_GPIO_WritePin(GPIOB,
			GPIO_PIN_0 | GPIO_PIN_1 | GPIO_PIN_3 | GPIO_PIN_4 | GPIO_PIN_5,
			GPIO_PIN_RESET);

	/*Configure GPIO pins : PC0 PC1 PC2 PC3
	 PC5 PC9 */
	GPIO_InitStruct.Pin = GPIO_PIN_0 | GPIO_PIN_1 | GPIO_PIN_2 | GPIO_PIN_3
			| GPIO_PIN_5 | GPIO_PIN_9;
	GPIO_InitStruct.Mode = GPIO_MODE_INPUT;
	GPIO_InitStruct.Pull = GPIO_NOPULL;
	HAL_GPIO_Init(GPIOC, &GPIO_InitStruct);

	/*Configure GPIO pins : PA4 PA5 */
	GPIO_InitStruct.Pin = GPIO_PIN_4 | GPIO_PIN_5;
	GPIO_InitStruct.Mode = GPIO_MODE_OUTPUT_PP;
	GPIO_InitStruct.Pull = GPIO_NOPULL;
	GPIO_InitStruct.Speed = GPIO_SPEED_FREQ_LOW;
	HAL_GPIO_Init(GPIOA, &GPIO_InitStruct);

	/*Configure GPIO pins : PB0 PB1 PB3 PB4
	 PB5 */
	GPIO_InitStruct.Pin = GPIO_PIN_0 | GPIO_PIN_1 | GPIO_PIN_3 | GPIO_PIN_4
			| GPIO_PIN_5;
	GPIO_InitStruct.Mode = GPIO_MODE_OUTPUT_PP;
	GPIO_InitStruct.Pull = GPIO_NOPULL;
	GPIO_InitStruct.Speed = GPIO_SPEED_FREQ_LOW;
	HAL_GPIO_Init(GPIOB, &GPIO_InitStruct);

}

void Error_Handler(void) {
	__disable_irq();
	while (1) {
	}
}
